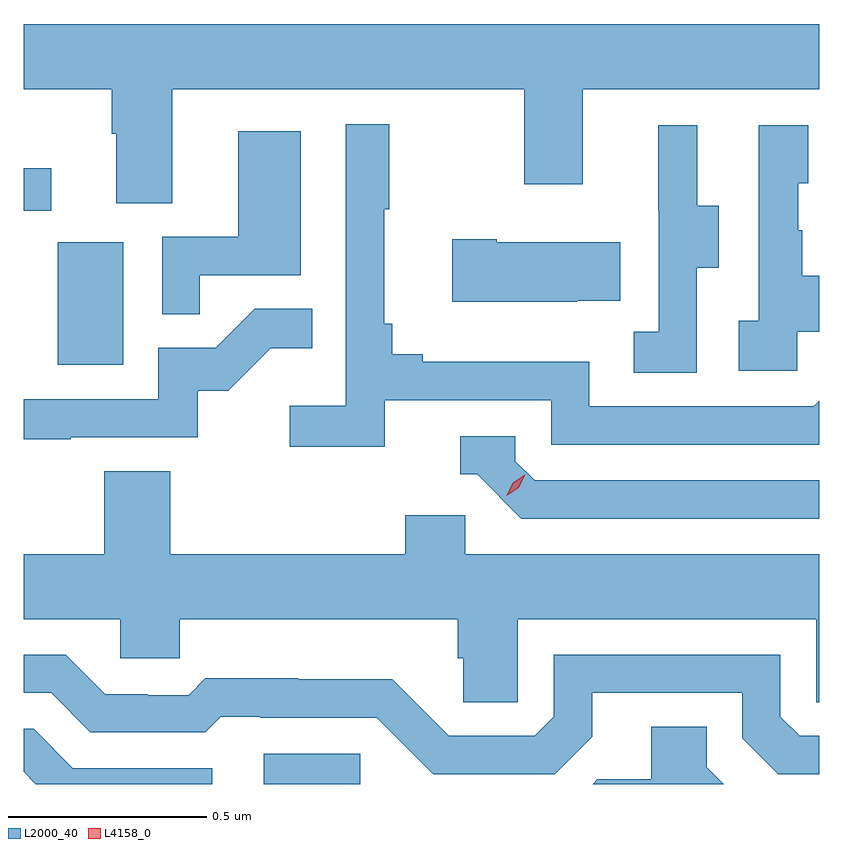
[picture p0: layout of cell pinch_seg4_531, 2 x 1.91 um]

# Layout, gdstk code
import gdstk
lib = gdstk.Library(unit=1e-6, precision=1e-09)
def R(c, l, rs):  # rectangles x0, y0, x1, y1
    for r in rs: c.add(gdstk.rectangle(r[:2], r[2:], *l))
def P(c, l, *ps):  # polygons
    for p in ps: c.add(gdstk.Polygon(p, *l))
L2000_40 = (2000, 40)
L4158_0 = (4158, 0)

pinch_seg4_531 = lib.new_cell('pinch_seg4_531')
R(pinch_seg4_531, L2000_40, [(964.815,753.782,965.058,753.858), (964.298,754.836,964.462,755.143), (964.212,755.223,964.282,755.329)])
P(pinch_seg4_531, L2000_40, [(964.585,755.528),(965.47,755.528),(965.47,755.289),(965.617,755.289),(965.617,755.528),(966.212,755.528),(966.212,755.692),(964.212,755.692),(964.212,755.528),(964.433,755.528),(964.433,755.416),(964.445,755.416),(964.445,755.242),(964.585,755.242)],
  [(965.12,754.746),(965.538,754.746),(965.538,754.635),(966.212,754.635),(966.212,754.745),(966.198,754.731),(965.634,754.731),(965.634,754.843),(965.215,754.843),(965.215,754.862),(965.138,754.862),(965.138,754.939),(965.119,754.939),(965.119,755.227),(965.131,755.227),(965.131,755.44),(965.022,755.44),(965.022,754.732),(964.881,754.732),(964.881,754.63),(965.12,754.63)],
  [(965.904,755.08),(965.959,755.08),(965.959,755.235),(965.905,755.235),(965.905,755.437),(965.807,755.437),(965.807,755.223),(965.808,755.223),(965.808,754.919),(965.745,754.919),(965.745,754.816),(965.904,754.816)],
  [(966.156,754.919),(966.212,754.919),(966.212,755.059),(966.169,755.059),(966.169,755.174),(966.159,755.174),(966.159,755.292),(966.184,755.292),(966.184,755.437),(966.06,755.437),(966.06,754.946),(966.009,754.946),(966.009,754.821),(966.156,754.821)],
  [(964.655,755.061),(964.909,755.061),(964.909,755.422),(964.751,755.422),(964.751,755.157),(964.56,755.157),(964.56,754.963),(964.655,754.963)],
  [(965.603,754.997),(965.711,754.997),(965.711,755.143),(965.401,755.143),(965.401,755.151),(965.289,755.151),(965.289,754.994),(965.603,754.994)],
  [(964.331,754.653),(964.65,754.653),(964.65,754.77),(964.726,754.77),(964.833,754.877),(964.937,754.877),(964.937,754.976),(964.793,754.976),(964.695,754.878),(964.551,754.878),(964.551,754.749),(964.212,754.749),(964.212,754.648),(964.331,754.648)],
  [(966.212,754.545),(965.496,754.545),(965.448,754.593),(965.448,754.656),(965.309,754.656),(965.309,754.56),(965.352,754.56),(965.463,754.449),(966.212,754.449)],
  [(965.454,754.196),(966.204,754.196),(966.204,753.988),(966.212,753.988),(966.212,754.36),(965.322,754.36),(965.322,754.458),(965.171,754.458),(965.171,754.36),(964.58,754.36),(964.58,754.568),(964.415,754.568),(964.415,754.36),(964.212,754.36),(964.212,754.196),(964.455,754.196),(964.455,754.098),(964.605,754.098),(964.605,754.196),(965.303,754.196),(965.303,754.098),(965.317,754.098),(965.317,753.988),(965.454,753.988)],
  [(965.641,753.901),(965.641,754.011),(966.018,754.011),(966.018,753.897),(966.108,753.807),(966.212,753.807),(966.212,753.903),(966.162,753.903),(966.114,753.951),(966.114,754.107),(965.544,754.107),(965.544,753.951),(965.496,753.903),(965.28,753.903),(965.138,754.045),(964.902,754.045),(964.902,754.048),(964.669,754.048),(964.627,754.005),(964.524,754.005),(964.524,754.008),(964.417,754.008),(964.318,754.107),(964.212,754.107),(964.212,754.011),(964.281,754.011),(964.38,753.912),(964.669,753.912),(964.708,753.951),(964.807,753.951),(964.807,753.948),(965.1,753.948),(965.241,753.807),(965.547,753.807)],
  [(965.929,753.824),(965.929,753.926),(965.789,753.926),(965.789,753.794),(965.654,753.794),(965.642,753.782),(965.971,753.782)],
  [(964.686,753.822),(964.336,753.822),(964.237,753.921),(964.212,753.921),(964.212,753.813),(964.243,753.782),(964.686,753.782)])
P(pinch_seg4_531, L4158_0, [(965.426,754.507),(965.426,754.507),(965.441,754.539),(965.471,754.559),(965.472,754.559),(965.472,754.558),(965.456,754.526),(965.426,754.507)])

lib.write_gds('pinch_seg4_531.gds')
